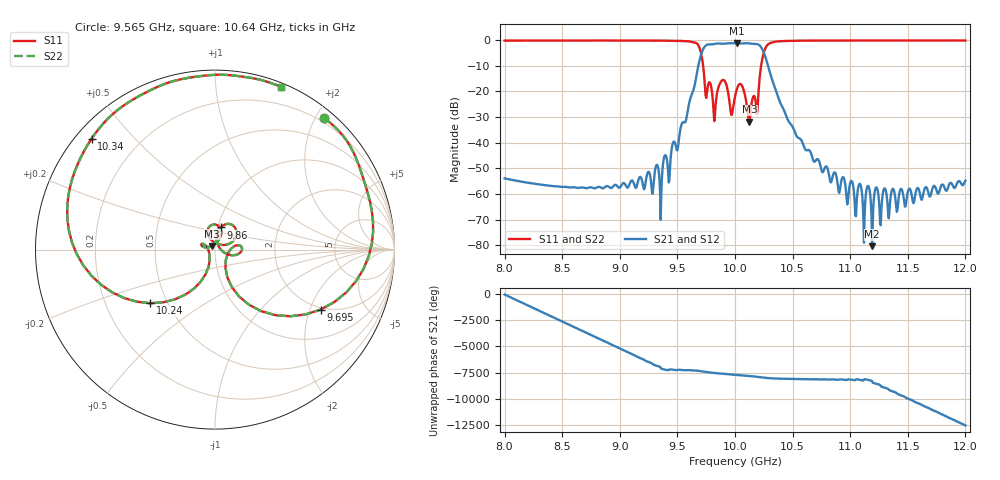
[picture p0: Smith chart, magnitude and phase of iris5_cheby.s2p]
! 5th-order iris, Chebyshev 0.1 dB (base-paper dimensions)
! openEMS v0.37 FDTD, reciprocal & symmetric: S22=S11, S12=S21
# GHz S MA R 50
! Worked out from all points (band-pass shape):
!   801 points, 8 GHz to 12 GHz, reference 50 ohm
!   highest |S21| = -1.16 dB at 10.02 GHz (marker M1); lowest = -80.4 dB at 11.19 GHz (marker M2)
!   |S21| within 3 dB of the highest: 9.717 GHz to 10.24 GHz (527 MHz wide, 5.28 % of centre)
!   lowest |S11| = -31.8 dB at 10.12 GHz (marker M3), VSWR 1.05, Z = 48.3 + j1.92 ohm
!   |S11| at or under -10 dB: 9.723 GHz to 10.23 GHz (503.3 MHz wide, 5.05 % of centre)
!   |S22| runs from -31.8 to -0.1 dB; largest |S21 - S12| = 0
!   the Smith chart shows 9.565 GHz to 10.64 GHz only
!   S11 on the Smith chart (normalised r, x): 9.565 GHz: 0.13, +2.11; 9.695 GHz: 1.93, -2.38; 9.86 GHz: 1.03, +0.26; 10.24 GHz: 0.40, -0.31; 10.34 GHz: 0.04, +0.38; 10.64 GHz: 0.03, +1.48
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8  0.9823 -109.7  0.002011 -66.1  0.002011 -66.1  0.9823 -109.7
8.67  0.9848 177.5  0.001344 96.2  0.001344 96.2  0.9848 177.5
9.335  0.9775 97.7  0.003091 -43.4  0.003091 -43.4  0.9775 97.7
9.565  0.9535 50.5  0.02487 -56.5  0.02487 -56.5  0.9535 50.5
9.695  0.6768 -29.6  0.4328 -138.2  0.4328 -138.2  0.6768 -29.6
9.735  0.1687 -66.0  0.7389 152.6  0.7389 152.6  0.1687 -66.0
9.775  0.1504 4.6  0.8292 90.8  0.8292 90.8  0.1504 4.6
9.825  0.03284 63.1  0.8478 32.6  0.8478 32.6  0.03284 63.1
9.86  0.1277 75.5  0.8603 -5.3  0.8603 -5.3  0.1277 75.5
9.935  0.1101 25.0  0.8727 -76.5  0.8727 -76.5  0.1101 25.0
10  0.07888 115.5  0.8731 -136.2  0.8731 -136.2  0.07888 115.5
10.015  0.1088 112.5  0.875 -149.9  0.875 -149.9  0.1088 112.5
10.125  0.02578 129.7  0.8661 107.4  0.8661 107.4  0.02578 129.7
10.195  0.04217 -135.5  0.8367 31.2  0.8367 31.2  0.04217 -135.5
10.24  0.4675 -140.3  0.6475 -31.8  0.6475 -31.8  0.4675 -140.3
10.34  0.9248 138.0  0.1305 -123.6  0.1305 -123.6  0.9248 138.0
10.64  0.9799 67.9  0.007221 164.4  0.007221 164.4  0.9799 67.9
10.67  0.9818 63.6  0.005279 149.3  0.005279 149.3  0.9818 63.6
11.19  0.9864 6.0  9.583e-05 -33.5  9.583e-05 -33.5  0.9864 6.0
11.225  0.9863 2.8  0.001343 99.4  0.001343 99.4  0.9863 2.8
11.335  0.9866 -7.6  0.0003347 -101.3  0.0003347 -101.3  0.9866 -7.6
12  0.9854 -65.6  0.001811 88.9  0.001811 88.9  0.9854 -65.6
